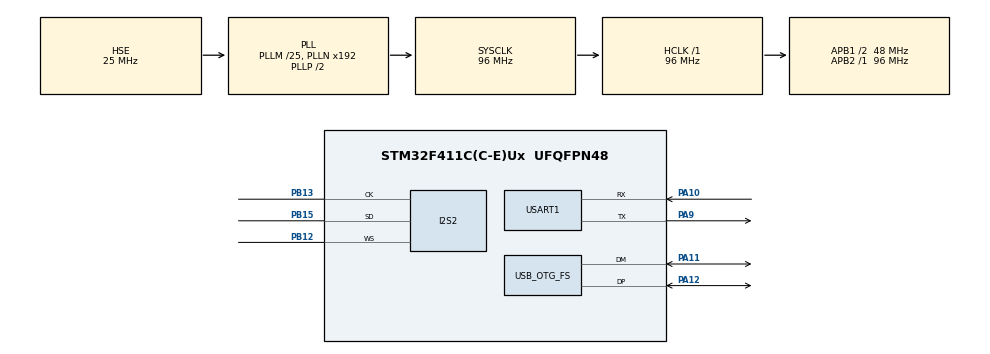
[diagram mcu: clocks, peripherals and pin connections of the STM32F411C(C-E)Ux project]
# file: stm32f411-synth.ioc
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Dma.Request0=SPI2_TX
Dma.SPI2_TX.0.Direction=DMA_MEMORY_TO_PERIPH
Dma.SPI2_TX.0.FIFOMode=DMA_FIFOMODE_ENABLE
Dma.SPI2_TX.0.FIFOThreshold=DMA_FIFO_THRESHOLD_FULL
Dma.SPI2_TX.0.Instance=DMA1_Stream4
Dma.SPI2_TX.0.MemBurst=DMA_MBURST_SINGLE
Dma.SPI2_TX.0.MemDataAlignment=DMA_MDATAALIGN_HALFWORD
Dma.SPI2_TX.0.MemInc=DMA_MINC_ENABLE
Dma.SPI2_TX.0.Mode=DMA_CIRCULAR
Dma.SPI2_TX.0.PeriphBurst=DMA_PBURST_SINGLE
Dma.SPI2_TX.0.PeriphDataAlignment=DMA_PDATAALIGN_HALFWORD
Dma.SPI2_TX.0.PeriphInc=DMA_PINC_DISABLE
Dma.SPI2_TX.0.Priority=DMA_PRIORITY_LOW
I2S2.AudioFreq=I2S_AUDIOFREQ_48K
I2S2.ErrorAudioFreq=-0.35 %
I2S2.FullDuplexMode=I2S_FULLDUPLEXMODE_DISABLE
I2S2.Instance=SPI$Index
I2S2.RealAudioFreq=47.831 KHz
I2S2.VirtualMode=I2S_MODE_MASTER
Mcu.Family=STM32F4
Mcu.Name=STM32F411C(C-E)Ux
Mcu.Package=UFQFPN48
NVIC.DMA1_Stream4_IRQn=true\:13\:0\:true\:false\:true\:false\:true\:true
NVIC.PriorityGroup=NVIC_PRIORITYGROUP_4
NVIC.SPI2_IRQn=true\:0\:0\:false\:false\:true\:true\:true\:true
PA10.Mode=Asynchronous
PA10.Signal=USART1_RX
PA11.Mode=Device_Only
PA11.Signal=USB_OTG_FS_DM
PA12.Mode=Device_Only
PA12.Signal=USB_OTG_FS_DP
PA9.Mode=Asynchronous
PA9.Signal=USART1_TX
PB12.Mode=Half_Duplex_Master
PB12.Signal=I2S2_WS
PB13.Mode=Half_Duplex_Master
PB13.Signal=I2S2_CK
PB15.Mode=Half_Duplex_Master
PB15.Signal=I2S2_SD
PH0\ -\ OSC_IN.Mode=HSE-External-Oscillator
PH0\ -\ OSC_IN.Signal=RCC_OSC_IN
PH1\ -\ OSC_OUT.Mode=HSE-External-Oscillator
PH1\ -\ OSC_OUT.Signal=RCC_OSC_OUT
ProjectManager.HeapSize=0x200
ProjectManager.StackSize=0x400
ProjectManager.TargetToolchain=CMake
RCC.48MHZClocksFreq_Value=48000000
RCC.AHBFreq_Value=96000000
RCC.APB1CLKDivider=RCC_HCLK_DIV2
RCC.APB1Freq_Value=48000000
RCC.APB1TimFreq_Value=96000000
RCC.APB2Freq_Value=96000000
RCC.APB2TimFreq_Value=96000000
RCC.CortexFreq_Value=96000000
RCC.HCLKFreq_Value=96000000
RCC.HSE_VALUE=25000000
RCC.HSI_VALUE=16000000
RCC.LSE_VALUE=32768
RCC.PLLM=25
RCC.SYSCLKFreq_VALUE=96000000
RCC.SYSCLKSource=RCC_SYSCLKSOURCE_PLLCLK
RCC.VCOOutputFreq_Value=192000000
USART1.VirtualMode=VM_ASYNC
USB_OTG_FS.VirtualMode=Device_Only
board=custom

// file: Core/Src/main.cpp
/* USER CODE BEGIN Header */
/**
  ******************************************************************************
  * @file           : main.c
  * @brief          : Main program body
  ******************************************************************************
  * @attention
  *
  * Copyright (c) 2026 STMicroelectronics.
  * All rights reserved.
  *
  * This software is licensed under terms that can be found in the LICENSE file
  * in the root directory of this software component.
  * If no LICENSE file comes with this software, it is provided AS-IS.
  *
  ******************************************************************************
  */
/* USER CODE END Header */
#include "main.h"

/* USER CODE BEGIN Includes */
#include "tusb.h"
#include <stdio.h>
#include <string.h>
#include "synth.h"
#include "voice.h"
/* USER CODE END Includes */

I2S_HandleTypeDef hi2s2;
DMA_HandleTypeDef hdma_spi2_tx;

UART_HandleTypeDef huart1;

PCD_HandleTypeDef hpcd_USB_OTG_FS;

/* USER CODE BEGIN PV */
int16_t audio_buffer[buffer_length];
Synth<FMVoice<buffer_length_div_4>> synth{sample_rate};
//Synth<SimpleVoice<buffer_length_div_4>> synth{sample_rate};
volatile uint32_t dma_half_count = 0;
volatile uint32_t dma_full_count = 0;

/* DWT callback timing (experiment — uncomment to enable)
volatile uint32_t cb_min   = UINT32_MAX;
volatile uint32_t cb_max   = 0;
volatile uint64_t cb_total = 0;
volatile uint32_t cb_count = 0;
*/
/* USER CODE END PV */

void SystemClock_Config(void);
static void MX_GPIO_Init(void);
static void MX_DMA_Init(void);
static void MX_USART1_UART_Init(void);
static void MX_I2S2_Init(void);
static void MX_USB_OTG_FS_PCD_Init(void);

/* USER CODE BEGIN 0 */
/* DWT run_synth wrapper (experiment — uncomment to enable)
static void run_synth(int16_t* buf) {
    uint32_t t0 = DWT->CYCCNT;
    synth(buf);
    uint32_t elapsed = DWT->CYCCNT - t0;
    if (elapsed < cb_min) cb_min = elapsed;
    if (elapsed > cb_max) cb_max = elapsed;
    cb_total += elapsed;
    cb_count++;
}
*/

void HAL_I2S_TxHalfCpltCallback(I2S_HandleTypeDef *hi2s) {
    dma_half_count++;
    synth(audio_buffer);
}

void HAL_I2S_TxCpltCallback(I2S_HandleTypeDef *hi2s) {
    dma_full_count++;
    synth(audio_buffer + buffer_length_div_2);
}

static void uart_print(const char* str) {
    HAL_UART_Transmit(&huart1, (uint8_t*)str, strlen(str), HAL_MAX_DELAY);
}

static void midi_task(void) {
    uint8_t packet[4];
    while (tud_midi_available()) {
        if (!tud_midi_packet_read(packet)) break;

        uint8_t status = packet[1];
        uint8_t d1     = packet[2];
        uint8_t d2     = packet[3];

        char buf[80];
        switch (status & 0xF0) {
            case 0x90:
                __disable_irq();
                if (d2 == 0) synth.note_off(d1); else synth.note_on(d1, d2);
                __enable_irq();
                if (d2 > 0) {
                    auto& v = synth.voices[0];
                    snprintf(buf, sizeof(buf), "NoteOn: %d vel=%d | v0: note=%d freq=%.1f gain=%.3f idle=%d\r\n",
                        d1, d2, v.current_note, (double)v.freq, (double)v.gain, (int)v.adsr.idle);
                } else {
                    snprintf(buf, sizeof(buf), "NoteOff: %d\r\n", d1);
                }
                uart_print(buf);
                break;
            case 0x80:
                __disable_irq();
                synth.note_off(d1);
                __enable_irq();
                snprintf(buf, sizeof(buf), "NoteOff: %d\r\n", d1);
                uart_print(buf);
                break;
            default:
                snprintf(buf, sizeof(buf), "MIDI: %02X %02X %02X\r\n", status, d1, d2);
                uart_print(buf);
                break;
        }
    }
}
/* USER CODE END 0 */

int main(void)
{

  /* MCU Configuration--------------------------------------------------------*/

  /* Reset of all peripherals, Initializes the Flash interface and the Systick. */
  HAL_Init();

  /* Configure the system clock */
  SystemClock_Config();

  /* USER CODE BEGIN SysInit */
  /* DWT enable (experiment — uncomment to enable)
  CoreDebug->DEMCR |= CoreDebug_DEMCR_TRCENA_Msk;
  DWT->CYCCNT = 0;
  DWT->CTRL  |= DWT_CTRL_CYCCNTENA_Msk;
  */
  /* USER CODE END SysInit */

  /* Initialize all configured peripherals */
  MX_GPIO_Init();
  MX_DMA_Init();
  MX_USART1_UART_Init();
  MX_I2S2_Init();
  MX_USB_OTG_FS_PCD_Init();
  /* USER CODE BEGIN 2 */
  uart_print("Booting...\r\n");
  tusb_init();
  synth.voices[0].adsr_init();
  HAL_StatusTypeDef i2s_status = HAL_I2S_Transmit_DMA(&hi2s2, reinterpret_cast<uint16_t*>(audio_buffer), buffer_length);
  uart_print(i2s_status == HAL_OK ? "I2S DMA started\r\n" : "I2S DMA FAILED\r\n");
  /* USER CODE END 2 */

  /* Infinite loop */
  while (1)
  {

    /* USER CODE BEGIN 3 */
    tud_task();
    midi_task();

    /* DWT timing report (experiment — uncomment to enable)
    static uint32_t last_print = 0;
    uint32_t now = HAL_GetTick();
    if (now - last_print >= 3000) {
        last_print = now;
        __disable_irq();
        uint32_t mn = cb_min; uint32_t mx = cb_max;
        uint64_t tot = cb_total; uint32_t cnt = cb_count;
        cb_min = UINT32_MAX; cb_max = 0; cb_total = 0; cb_count = 0;
        __enable_irq();
        uint32_t avg = cnt ? (uint32_t)(tot / cnt) : 0;
        char buf[96];
        snprintf(buf, sizeof(buf),
            "cb: min=%lu avg=%lu max=%lu cycles (budget=32000, n=%lu)\r\n",
            mn, avg, mx, cnt);
        uart_print(buf);
    }
    */
  }
  /* USER CODE END 3 */
}

void SystemClock_Config(void)
{
  RCC_OscInitTypeDef RCC_OscInitStruct = {0};
  RCC_ClkInitTypeDef RCC_ClkInitStruct = {0};

  /** Configure the main internal regulator output voltage
  */
  __HAL_RCC_PWR_CLK_ENABLE();
  __HAL_PWR_VOLTAGESCALING_CONFIG(PWR_REGULATOR_VOLTAGE_SCALE1);

  /** Initializes the RCC Oscillators according to the specified parameters
  * in the RCC_OscInitTypeDef structure.
  */
  RCC_OscInitStruct.OscillatorType = RCC_OSCILLATORTYPE_HSE;
  RCC_OscInitStruct.HSEState = RCC_HSE_ON;
  RCC_OscInitStruct.PLL.PLLState = RCC_PLL_ON;
  RCC_OscInitStruct.PLL.PLLSource = RCC_PLLSOURCE_HSE;
  RCC_OscInitStruct.PLL.PLLM = 25;
  RCC_OscInitStruct.PLL.PLLN = 192;
  RCC_OscInitStruct.PLL.PLLP = RCC_PLLP_DIV2;
  RCC_OscInitStruct.PLL.PLLQ = 4;
  if (HAL_RCC_OscConfig(&RCC_OscInitStruct) != HAL_OK)
  {
    Error_Handler();
  }

  /** Initializes the CPU, AHB and APB buses clocks
  */
  RCC_ClkInitStruct.ClockType = RCC_CLOCKTYPE_HCLK|RCC_CLOCKTYPE_SYSCLK
                              |RCC_CLOCKTYPE_PCLK1|RCC_CLOCKTYPE_PCLK2;
  RCC_ClkInitStruct.SYSCLKSource = RCC_SYSCLKSOURCE_PLLCLK;
  RCC_ClkInitStruct.AHBCLKDivider = RCC_SYSCLK_DIV1;
  RCC_ClkInitStruct.APB1CLKDivider = RCC_HCLK_DIV2;
  RCC_ClkInitStruct.APB2CLKDivider = RCC_HCLK_DIV1;

  if (HAL_RCC_ClockConfig(&RCC_ClkInitStruct, FLASH_LATENCY_3) != HAL_OK)
  {
    Error_Handler();
  }
}

static void MX_I2S2_Init(void)
{

  hi2s2.Instance = SPI2;
  hi2s2.Init.Mode = I2S_MODE_MASTER_TX;
  hi2s2.Init.Standard = I2S_STANDARD_PHILIPS;
  hi2s2.Init.DataFormat = I2S_DATAFORMAT_16B;
  hi2s2.Init.MCLKOutput = I2S_MCLKOUTPUT_DISABLE;
  hi2s2.Init.AudioFreq = I2S_AUDIOFREQ_48K;
  hi2s2.Init.CPOL = I2S_CPOL_LOW;
  hi2s2.Init.ClockSource = I2S_CLOCK_PLL;
  hi2s2.Init.FullDuplexMode = I2S_FULLDUPLEXMODE_DISABLE;
  if (HAL_I2S_Init(&hi2s2) != HAL_OK)
  {
    Error_Handler();
  }

}

static void MX_USART1_UART_Init(void)
{

  huart1.Instance = USART1;
  huart1.Init.BaudRate = 115200;
  huart1.Init.WordLength = UART_WORDLENGTH_8B;
  huart1.Init.StopBits = UART_STOPBITS_1;
  huart1.Init.Parity = UART_PARITY_NONE;
  huart1.Init.Mode = UART_MODE_TX_RX;
  huart1.Init.HwFlowCtl = UART_HWCONTROL_NONE;
  huart1.Init.OverSampling = UART_OVERSAMPLING_16;
  if (HAL_UART_Init(&huart1) != HAL_OK)
  {
    Error_Handler();
  }

}

static void MX_USB_OTG_FS_PCD_Init(void)
{

  hpcd_USB_OTG_FS.Instance = USB_OTG_FS;
  hpcd_USB_OTG_FS.Init.dev_endpoints = 4;
  hpcd_USB_OTG_FS.Init.speed = PCD_SPEED_FULL;
  hpcd_USB_OTG_FS.Init.dma_enable = DISABLE;
  hpcd_USB_OTG_FS.Init.phy_itface = PCD_PHY_EMBEDDED;
  hpcd_USB_OTG_FS.Init.Sof_enable = DISABLE;
  hpcd_USB_OTG_FS.Init.low_power_enable = DISABLE;
  hpcd_USB_OTG_FS.Init.lpm_enable = DISABLE;
  hpcd_USB_OTG_FS.Init.vbus_sensing_enable = DISABLE;
  hpcd_USB_OTG_FS.Init.use_dedicated_ep1 = DISABLE;
  if (HAL_PCD_Init(&hpcd_USB_OTG_FS) != HAL_OK)
  {
    Error_Handler();
  }

}

static void MX_DMA_Init(void)
{

  /* DMA controller clock enable */
  __HAL_RCC_DMA1_CLK_ENABLE();

  /* DMA interrupt init */
  /* DMA1_Stream4_IRQn interrupt configuration */
  HAL_NVIC_SetPriority(DMA1_Stream4_IRQn, 13, 0);
  HAL_NVIC_EnableIRQ(DMA1_Stream4_IRQn);

}

static void MX_GPIO_Init(void)
{

  /* GPIO Ports Clock Enable */
  __HAL_RCC_GPIOH_CLK_ENABLE();
  __HAL_RCC_GPIOB_CLK_ENABLE();
  __HAL_RCC_GPIOA_CLK_ENABLE();

}

void Error_Handler(void)
{
  __disable_irq();
  while (1)
  {
  }
}
